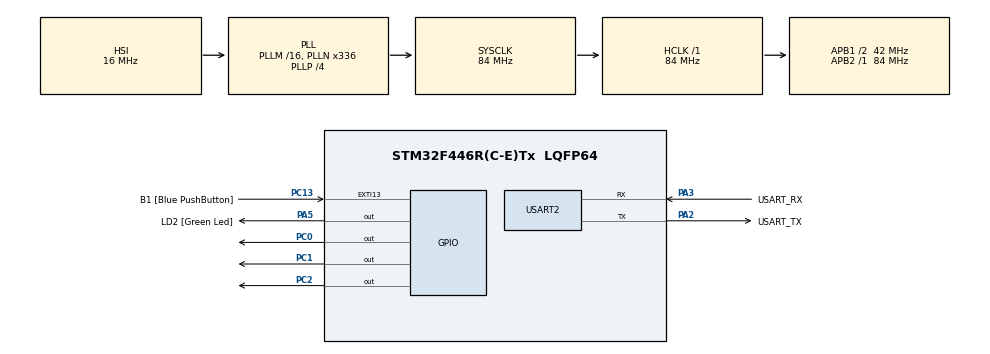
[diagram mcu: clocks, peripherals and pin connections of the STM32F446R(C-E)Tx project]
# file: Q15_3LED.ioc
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Mcu.Family=STM32F4
Mcu.Name=STM32F446R(C-E)Tx
Mcu.Package=LQFP64
NVIC.PriorityGroup=NVIC_PRIORITYGROUP_0
PA13.GPIO_Label=TMS
PA13.Mode=Serial_Wire
PA13.Signal=SYS_JTMS-SWDIO
PA14.GPIO_Label=TCK
PA14.Mode=Serial_Wire
PA14.Signal=SYS_JTCK-SWCLK
PA2.GPIO_Label=USART_TX
PA2.Mode=Asynchronous
PA2.Signal=USART2_TX
PA3.GPIO_Label=USART_RX
PA3.Mode=Asynchronous
PA3.Signal=USART2_RX
PA5.GPIO_Label=LD2 [Green Led]
PA5.Signal=GPIO_Output
PB3.GPIO_Label=SWO
PB3.Signal=SYS_JTDO-SWO
PC0.Signal=GPIO_Output
PC1.Signal=GPIO_Output
PC13.GPIO_Label=B1 [Blue PushButton]
PC13.GPIO_ModeDefaultEXTI=GPIO_MODE_IT_FALLING
PC13.Signal=GPXTI13
PC14-OSC32_IN.Mode=LSE-External-Oscillator
PC14-OSC32_IN.Signal=RCC_OSC32_IN
PC15-OSC32_OUT.Mode=LSE-External-Oscillator
PC15-OSC32_OUT.Signal=RCC_OSC32_OUT
PC2.Signal=GPIO_Output
PH0-OSC_IN.Mode=HSE-External-Oscillator
PH0-OSC_IN.Signal=RCC_OSC_IN
PH1-OSC_OUT.Mode=HSE-External-Oscillator
PH1-OSC_OUT.Signal=RCC_OSC_OUT
ProjectManager.HeapSize=0x200
ProjectManager.StackSize=0x400
ProjectManager.TargetToolchain=STM32CubeIDE
RCC.48MHZClocksFreq_Value=84000000
RCC.AHBFreq_Value=84000000
RCC.APB1CLKDivider=RCC_HCLK_DIV2
RCC.APB1Freq_Value=42000000
RCC.APB1TimFreq_Value=84000000
RCC.APB2Freq_Value=84000000
RCC.APB2TimFreq_Value=84000000
RCC.CortexFreq_Value=84000000
RCC.FLatency-AdvancedSettings=FLASH_LATENCY_2
RCC.HCLKFreq_Value=84000000
RCC.HSE_VALUE=8000000
RCC.HSI_VALUE=16000000
RCC.PLLN=336
RCC.PLLP=RCC_PLLP_DIV4
RCC.SYSCLKFreq_VALUE=84000000
RCC.SYSCLKSource=RCC_SYSCLKSOURCE_PLLCLK
RCC.USBFreq_Value=168000000
RCC.VCOOutputFreq_Value=336000000
USART2.VirtualMode=VM_ASYNC
board=NUCLEO-F446RE

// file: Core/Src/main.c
/* USER CODE BEGIN Header */
/**
  ******************************************************************************
  * @file           : main.c
  * @brief          : Main program body
  ******************************************************************************
  * @attention
  *
  * Copyright (c) 2023 STMicroelectronics.
  * All rights reserved.
  *
  * This software is licensed under terms that can be found in the LICENSE file
  * in the root directory of this software component.
  * If no LICENSE file comes with this software, it is provided AS-IS.
  *
  ******************************************************************************
  */
/* USER CODE END Header */
#include "main.h"

UART_HandleTypeDef huart2;

void SystemClock_Config(void);
static void MX_GPIO_Init(void);
static void MX_USART2_UART_Init(void);

int main(void)
{

  /* MCU Configuration--------------------------------------------------------*/

  /* Reset of all peripherals, Initializes the Flash interface and the Systick. */
  HAL_Init();

  /* Configure the system clock */
  SystemClock_Config();

  /* Initialize all configured peripherals */
  MX_GPIO_Init();
  MX_USART2_UART_Init();

  /* Infinite loop */
  /* USER CODE BEGIN WHILE */
  while (1)
  {
    	 int count=0;

        while(count<2)
        {
             if(!(HAL_GPIO_ReadPin(GPIOC,GPIO_PIN_13)))
             {
        		  count++;

        		  if(count == 1)
        		     {
        			   HAL_GPIO_WritePin(GPIOC,GPIO_PIN_0, 1);
        			   HAL_Delay(2000);
        			   HAL_GPIO_WritePin(GPIOC, GPIO_PIN_1, 1);
        			   HAL_Delay(2000);
        			   HAL_GPIO_WritePin(GPIOC, GPIO_PIN_2, 1);

                  }
        		   else if(count == 2)
        		     {
        			   HAL_GPIO_WritePin(GPIOC, GPIO_PIN_0, 0);
        			   HAL_Delay(2000);
        			   HAL_GPIO_WritePin(GPIOC, GPIO_PIN_1, 0);
        			   HAL_Delay(2000);
        			   HAL_GPIO_WritePin(GPIOC, GPIO_PIN_2, 0);

        		     }
        	     }
         }

     }
    /* USER CODE END WHILE */

    /* USER CODE BEGIN 3 */
  }

void SystemClock_Config(void)
{
  RCC_OscInitTypeDef RCC_OscInitStruct = {0};
  RCC_ClkInitTypeDef RCC_ClkInitStruct = {0};

  /** Configure the main internal regulator output voltage
  */
  __HAL_RCC_PWR_CLK_ENABLE();
  __HAL_PWR_VOLTAGESCALING_CONFIG(PWR_REGULATOR_VOLTAGE_SCALE3);

  /** Initializes the RCC Oscillators according to the specified parameters
  * in the RCC_OscInitTypeDef structure.
  */
  RCC_OscInitStruct.OscillatorType = RCC_OSCILLATORTYPE_HSI;
  RCC_OscInitStruct.HSIState = RCC_HSI_ON;
  RCC_OscInitStruct.HSICalibrationValue = RCC_HSICALIBRATION_DEFAULT;
  RCC_OscInitStruct.PLL.PLLState = RCC_PLL_ON;
  RCC_OscInitStruct.PLL.PLLSource = RCC_PLLSOURCE_HSI;
  RCC_OscInitStruct.PLL.PLLM = 16;
  RCC_OscInitStruct.PLL.PLLN = 336;
  RCC_OscInitStruct.PLL.PLLP = RCC_PLLP_DIV4;
  RCC_OscInitStruct.PLL.PLLQ = 2;
  RCC_OscInitStruct.PLL.PLLR = 2;
  if (HAL_RCC_OscConfig(&RCC_OscInitStruct) != HAL_OK)
  {
    Error_Handler();
  }

  /** Initializes the CPU, AHB and APB buses clocks
  */
  RCC_ClkInitStruct.ClockType = RCC_CLOCKTYPE_HCLK|RCC_CLOCKTYPE_SYSCLK
                              |RCC_CLOCKTYPE_PCLK1|RCC_CLOCKTYPE_PCLK2;
  RCC_ClkInitStruct.SYSCLKSource = RCC_SYSCLKSOURCE_PLLCLK;
  RCC_ClkInitStruct.AHBCLKDivider = RCC_SYSCLK_DIV1;
  RCC_ClkInitStruct.APB1CLKDivider = RCC_HCLK_DIV2;
  RCC_ClkInitStruct.APB2CLKDivider = RCC_HCLK_DIV1;

  if (HAL_RCC_ClockConfig(&RCC_ClkInitStruct, FLASH_LATENCY_2) != HAL_OK)
  {
    Error_Handler();
  }
}

static void MX_USART2_UART_Init(void)
{

  huart2.Instance = USART2;
  huart2.Init.BaudRate = 115200;
  huart2.Init.WordLength = UART_WORDLENGTH_8B;
  huart2.Init.StopBits = UART_STOPBITS_1;
  huart2.Init.Parity = UART_PARITY_NONE;
  huart2.Init.Mode = UART_MODE_TX_RX;
  huart2.Init.HwFlowCtl = UART_HWCONTROL_NONE;
  huart2.Init.OverSampling = UART_OVERSAMPLING_16;
  if (HAL_UART_Init(&huart2) != HAL_OK)
  {
    Error_Handler();
  }

}

static void MX_GPIO_Init(void)
{
  GPIO_InitTypeDef GPIO_InitStruct = {0};

  /* GPIO Ports Clock Enable */
  __HAL_RCC_GPIOC_CLK_ENABLE();
  __HAL_RCC_GPIOH_CLK_ENABLE();
  __HAL_RCC_GPIOA_CLK_ENABLE();
  __HAL_RCC_GPIOB_CLK_ENABLE();

  /*Configure GPIO pin Output Level */
  HAL_GPIO_WritePin(GPIOC, GPIO_PIN_0|GPIO_PIN_1|GPIO_PIN_2, GPIO_PIN_RESET);

  /*Configure GPIO pin Output Level */
  HAL_GPIO_WritePin(LD2_GPIO_Port, LD2_Pin, GPIO_PIN_RESET);

  /*Configure GPIO pin : B1_Pin */
  GPIO_InitStruct.Pin = B1_Pin;
  GPIO_InitStruct.Mode = GPIO_MODE_IT_FALLING;
  GPIO_InitStruct.Pull = GPIO_NOPULL;
  HAL_GPIO_Init(B1_GPIO_Port, &GPIO_InitStruct);

  /*Configure GPIO pins : PC0 PC1 PC2 */
  GPIO_InitStruct.Pin = GPIO_PIN_0|GPIO_PIN_1|GPIO_PIN_2;
  GPIO_InitStruct.Mode = GPIO_MODE_OUTPUT_PP;
  GPIO_InitStruct.Pull = GPIO_NOPULL;
  GPIO_InitStruct.Speed = GPIO_SPEED_FREQ_LOW;
  HAL_GPIO_Init(GPIOC, &GPIO_InitStruct);

  /*Configure GPIO pin : LD2_Pin */
  GPIO_InitStruct.Pin = LD2_Pin;
  GPIO_InitStruct.Mode = GPIO_MODE_OUTPUT_PP;
  GPIO_InitStruct.Pull = GPIO_NOPULL;
  GPIO_InitStruct.Speed = GPIO_SPEED_FREQ_LOW;
  HAL_GPIO_Init(LD2_GPIO_Port, &GPIO_InitStruct);

}

void Error_Handler(void)
{
  __disable_irq();
  while (1)
  {
  }
}
